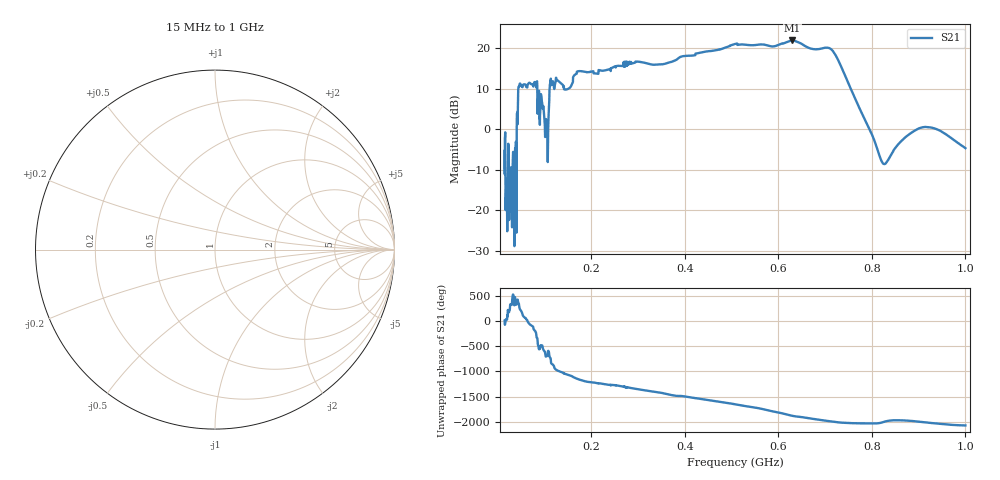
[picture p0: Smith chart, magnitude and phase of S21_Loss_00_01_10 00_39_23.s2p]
![Mode]
!Name=1
![AMP]
!LEV=0
!Step=10
![Maker]
!M1=88
!M2=64
![Freq]
!CENT=507500000
!SPAN=985000000
![CAL]
!CAL=3
![SweepPoint]
!Point=6
![CurveData]
# Hz S RI R 50
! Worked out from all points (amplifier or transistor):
!   3151 points, 15 MHz to 1 GHz, reference 50 ohm
!   highest |S21| = 21.9 dB at 630.1 MHz (marker M1)
!   |S21| within 3 dB of that: 434.1 MHz to 719.2 MHz (285 MHz wide, 49.4 % of centre)
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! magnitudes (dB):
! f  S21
! 15 MHz  -5.4
! 21.57 MHz  -21.0
! 35.64 MHz  -28.6
! 39.39 MHz  -3.4
! 41.27 MHz  3.7
! 45.64 MHz  10.6
! 48.77 MHz  11.2
! 80.04 MHz  11.6
! 104.4 MHz  2.2
! 115.4 MHz  11.0
! 149.8 MHz  9.9
! 179.5 MHz  14.3
! 343.6 MHz  16.0
! 507.5 MHz  21.0
! 630.1 MHz  21.9
! 672 MHz  19.8
! 718.9 MHz  19.0
! 820.8 MHz  -7.9
! 836.1 MHz  -7.4
! 868.4 MHz  -2.3
! 910.6 MHz  0.5
! 1 GHz  -4.7
